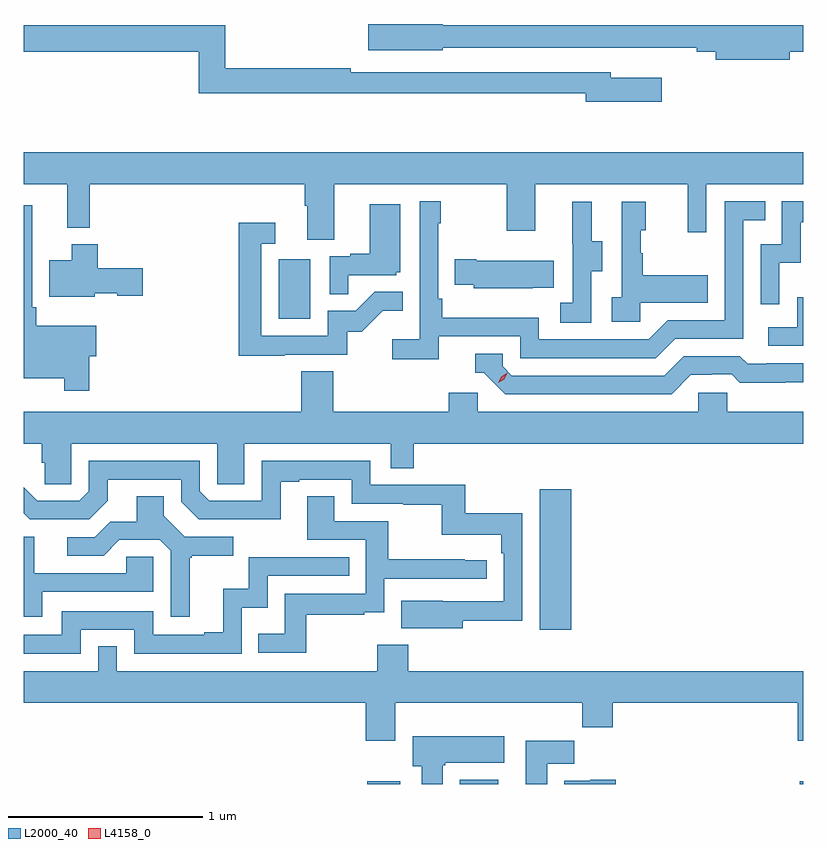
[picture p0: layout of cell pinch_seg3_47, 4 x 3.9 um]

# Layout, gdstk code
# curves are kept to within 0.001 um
import gdstk
lib = gdstk.Library(unit=1e-6, precision=1e-09)
def R(c, l, rs):  # rectangles x0, y0, x1, y1
    for r in rs: c.add(gdstk.rectangle(r[:2], r[2:], *l))
def P(c, l, *ps):  # polygons
    for p in ps: c.add(gdstk.Polygon(p, *l))
L2000_40 = (2000, 40)
L4158_0 = (4158, 0)

pinch_seg3_47 = lib.new_cell('pinch_seg3_47')
R(pinch_seg3_47, L2000_40, [(1057.994,731.136,1058.164,731.149), (1058.468,731.136,1058.665,731.158), (1060.214,731.136,1060.231,731.149), (1058.879,731.928,1059.04,732.649), (1057.538,733.524,1057.702,733.831)])
P(pinch_seg3_47, L2000_40, [(1060.162,734.896),(1060.231,734.896),(1060.231,735.032),(1058.382,735.032),(1058.382,735.038),(1057.998,735.038),(1057.998,734.903),(1058.382,734.903),(1058.382,734.916),(1059.34,734.916),(1059.34,734.915),(1059.686,734.915),(1059.686,734.896),(1059.782,734.896),(1059.782,734.854),(1060.162,734.854)],
  [(1059.505,734.761),(1059.244,734.761),(1059.244,734.79),(1057.91,734.79),(1057.91,734.81),(1057.265,734.81),(1057.265,735.032),(1056.231,735.032),(1056.231,734.896),(1057.129,734.896),(1057.129,734.682),(1059.116,734.682),(1059.116,734.639),(1059.505,734.639)],
  [(1056.231,734.216),(1056.452,734.216),(1056.452,733.991),(1056.569,733.991),(1056.569,734.216),(1057.673,734.216),(1057.673,734.104),(1057.685,734.104),(1057.685,733.93),(1057.825,733.93),(1057.825,734.216),(1058.71,734.216),(1058.71,733.977),(1058.857,733.977),(1058.857,734.216),(1059.638,734.216),(1059.638,733.968),(1059.735,733.968),(1059.735,734.216),(1060.231,734.216),(1060.231,734.38),(1056.231,734.38)],
  [(1058.36,733.434),(1058.778,733.434),(1058.778,733.323),(1059.475,733.323),(1059.574,733.422),(1059.924,733.422),(1059.924,734.031),(1060.037,734.031),(1060.037,734.127),(1059.828,734.127),(1059.828,733.518),(1059.537,733.518),(1059.438,733.419),(1058.874,733.419),(1058.874,733.531),(1058.378,733.531),(1058.378,733.627),(1058.358,733.627),(1058.358,734.015),(1058.371,734.015),(1058.371,734.128),(1058.262,734.128),(1058.262,733.42),(1058.121,733.42),(1058.121,733.318),(1058.36,733.318)],
  [(1060.11,733.811),(1060.22,733.811),(1060.22,734.019),(1060.231,734.019),(1060.231,734.127),(1060.122,734.127),(1060.122,733.908),(1060.014,733.908),(1060.014,733.599),(1060.11,733.599)],
  [(1059.396,733.607),(1059.743,733.607),(1059.743,733.747),(1059.409,733.747),(1059.409,733.862),(1059.399,733.862),(1059.399,733.98),(1059.424,733.98),(1059.424,734.125),(1059.3,734.125),(1059.3,733.634),(1059.249,733.634),(1059.249,733.509),(1059.396,733.509)],
  [(1059.144,733.768),(1059.199,733.768),(1059.199,733.923),(1059.145,733.923),(1059.145,734.125),(1059.047,734.125),(1059.047,733.911),(1059.048,733.911),(1059.048,733.607),(1058.985,733.607),(1058.985,733.504),(1059.144,733.504)],
  [(1057.895,733.749),(1058.142,733.749),(1058.142,733.764),(1058.164,733.764),(1058.164,734.113),(1058.006,734.113),(1058.006,733.858),(1057.907,733.858),(1057.907,733.845),(1057.8,733.845),(1057.8,733.651),(1057.895,733.651)],
  [(1056.566,733.331),(1056.601,733.331),(1056.601,733.489),(1056.293,733.489),(1056.293,733.585),(1056.273,733.585),(1056.273,734.107),(1056.231,734.107),(1056.231,733.22),(1056.438,733.22),(1056.438,733.155),(1056.566,733.155)],
  [(1057.571,733.341),(1057.89,733.341),(1057.89,733.458),(1057.966,733.458),(1058.073,733.565),(1058.177,733.565),(1058.177,733.664),(1058.033,733.664),(1057.935,733.566),(1057.791,733.566),(1057.791,733.437),(1057.449,733.437),(1057.449,733.911),(1057.522,733.911),(1057.522,734.017),(1057.333,734.017),(1057.333,733.336),(1057.571,733.336)],
  [(1056.594,733.655),(1056.711,733.655),(1056.711,733.643),(1056.841,733.643),(1056.841,733.785),(1056.611,733.785),(1056.611,733.906),(1056.476,733.906),(1056.476,733.825),(1056.362,733.825),(1056.362,733.637),(1056.594,733.637)],
  [(1058.843,733.685),(1058.951,733.685),(1058.951,733.822),(1058.554,733.822),(1058.554,733.83),(1058.443,733.83),(1058.443,733.7),(1058.541,733.7),(1058.541,733.682),(1058.843,733.682)],
  [(1060.231,733.636),(1060.2,733.636),(1060.2,733.482),(1060.053,733.482),(1060.053,733.386),(1060.231,733.386)],
  [(1059.655,733.236),(1059.762,733.236),(1059.762,733.239),(1059.865,733.239),(1059.907,733.197),(1060.14,733.197),(1060.14,733.199),(1060.231,733.199),(1060.231,733.296),(1060.045,733.296),(1060.045,733.293),(1059.946,733.293),(1059.907,733.332),(1059.618,733.332),(1059.519,733.233),(1058.736,733.233),(1058.688,733.281),(1058.688,733.344),(1058.549,733.344),(1058.549,733.248),(1058.592,733.248),(1058.703,733.137),(1059.556,733.137)],
  [(1056.474,732.884),(1057.224,732.884),(1057.224,732.676),(1057.363,732.676),(1057.363,732.884),(1058.115,732.884),(1058.115,732.757),(1058.231,732.757),(1058.231,732.884),(1060.231,732.884),(1060.231,733.048),(1059.843,733.048),(1059.843,733.146),(1059.693,733.146),(1059.693,733.048),(1058.562,733.048),(1058.562,733.146),(1058.411,733.146),(1058.411,733.048),(1057.82,733.048),(1057.82,733.256),(1057.655,733.256),(1057.655,733.048),(1056.231,733.048),(1056.231,732.884),(1056.323,732.884),(1056.323,732.786),(1056.337,732.786),(1056.337,732.676),(1056.474,732.676)],
  [(1058.485,731.974),(1058.79,731.974),(1058.79,732.526),(1058.497,732.526),(1058.497,732.672),(1058.01,732.672),(1058.01,732.795),(1057.452,732.795),(1057.452,732.591),(1057.182,732.591),(1057.134,732.639),(1057.134,732.795),(1056.564,732.795),(1056.564,732.639),(1056.516,732.591),(1056.3,732.591),(1056.231,732.66),(1056.231,732.525),(1056.261,732.495),(1056.567,732.495),(1056.661,732.589),(1056.661,732.699),(1057.038,732.699),(1057.038,732.585),(1057.128,732.495),(1057.549,732.494),(1057.549,732.687),(1057.645,732.687),(1057.645,732.699),(1057.914,732.699),(1057.914,732.576),(1058.179,732.576),(1058.179,732.571),(1058.376,732.571),(1058.376,732.416),(1058.681,732.416),(1058.681,732.32),(1058.694,732.32),(1058.694,732.075),(1058.167,732.076),(1058.167,731.936),(1058.485,731.936)],
  [(1057.681,732.006),(1057.979,732.006),(1057.979,732.017),(1058.082,732.017),(1058.082,732.189),(1058.608,732.189),(1058.608,732.285),(1058.495,732.285),(1058.495,732.29),(1058.102,732.29),(1058.102,732.486),(1057.825,732.486),(1057.825,732.614),(1057.685,732.614),(1057.685,732.39),(1057.986,732.39),(1057.986,732.114),(1057.57,732.114),(1057.57,731.908),(1057.435,731.908),(1057.435,731.811),(1057.681,731.811)],
  [(1057.081,732.297),(1057.093,732.297),(1057.093,732.308),(1057.306,732.308),(1057.306,732.405),(1057.056,732.405),(1056.949,732.512),(1056.949,732.614),(1056.809,732.614),(1056.809,732.482),(1056.674,732.482),(1056.594,732.402),(1056.453,732.402),(1056.453,732.309),(1056.64,732.309),(1056.721,732.39),(1056.927,732.39),(1056.984,732.333),(1056.984,731.994),(1057.081,731.994)],
  [(1056.325,732.123),(1056.894,732.123),(1056.894,732.303),(1056.757,732.303),(1056.757,732.219),(1056.283,732.219),(1056.283,732.405),(1056.231,732.405),(1056.231,731.994),(1056.325,731.994)],
  [(1056.522,731.928),(1056.798,731.928),(1056.798,731.805),(1057.35,731.805),(1057.35,732.041),(1057.482,732.041),(1057.482,732.204),(1057.901,732.204),(1057.901,732.3),(1057.386,732.3),(1057.386,732.139),(1057.253,732.139),(1057.253,731.914),(1057.157,731.914),(1057.157,731.901),(1056.894,731.901),(1056.894,732.024),(1056.426,732.024),(1056.426,731.901),(1056.231,731.901),(1056.231,731.805),(1056.522,731.805)],
  [(1058.137,731.552),(1059.097,731.552),(1059.097,731.428),(1059.254,731.428),(1059.254,731.552),(1060.205,731.552),(1060.205,731.358),(1060.231,731.358),(1060.231,731.716),(1058.204,731.716),(1058.204,731.851),(1058.044,731.851),(1058.044,731.716),(1056.708,731.716),(1056.708,731.843),(1056.612,731.843),(1056.612,731.716),(1056.231,731.716),(1056.231,731.552),(1057.985,731.552),(1057.985,731.358),(1058.137,731.358)],
  [(1058.38,731.233),(1058.394,731.233),(1058.394,731.246),(1058.698,731.246),(1058.698,731.38),(1058.228,731.38),(1058.228,731.226),(1058.273,731.226),(1058.273,731.136),(1058.38,731.136)],
  [(1058.917,731.24),(1059.056,731.24),(1059.056,731.359),(1058.807,731.359),(1058.807,731.136),(1058.917,731.136)],
  [(1059.269,731.158),(1059.138,731.158),(1059.138,731.152),(1059.005,731.152),(1059.005,731.136),(1059.269,731.136)])
P(pinch_seg3_47, L4158_0, [(1058.665,733.195),(1058.665,733.195),(1058.681,733.228),(1058.712,733.247),(1058.712,733.247),(1058.712,733.247),(1058.696,733.214),(1058.666,733.195)])

lib.write_gds('pinch_seg3_47.gds')
